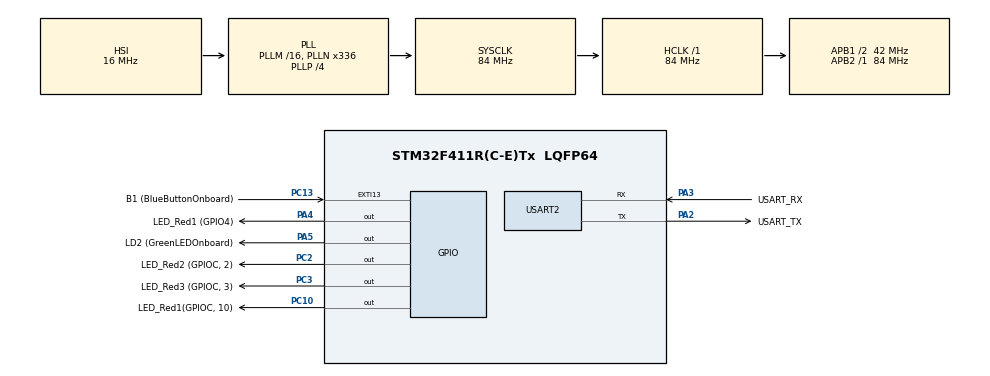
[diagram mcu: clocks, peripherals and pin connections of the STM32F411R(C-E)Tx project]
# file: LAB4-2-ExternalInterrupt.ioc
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Mcu.Family=STM32F4
Mcu.Name=STM32F411R(C-E)Tx
Mcu.Package=LQFP64
NVIC.EXTI15_10_IRQn=true\:0\:0\:false\:false\:true\:true\:true\:true
NVIC.PriorityGroup=NVIC_PRIORITYGROUP_0
PA13.GPIO_Label=TMS
PA13.Mode=Serial_Wire
PA13.Signal=SYS_JTMS-SWDIO
PA14.GPIO_Label=TCK
PA14.Mode=Serial_Wire
PA14.Signal=SYS_JTCK-SWCLK
PA2.GPIO_Label=USART_TX
PA2.Mode=Asynchronous
PA2.Signal=USART2_TX
PA3.GPIO_Label=USART_RX
PA3.Mode=Asynchronous
PA3.Signal=USART2_RX
PA4.GPIO_Label=LED_Red1 (GPIO4)
PA4.Signal=GPIO_Output
PA5.GPIO_Label=LD2 (GreenLEDOnboard)
PA5.Signal=GPIO_Output
PB3.GPIO_Label=SWO
PB3.Signal=SYS_JTDO-SWO
PC10.GPIO_Label=LED_Red1(GPIOC, 10)
PC10.Signal=GPIO_Output
PC13-ANTI_TAMP.GPIO_Label=B1 (BlueButtonOnboard)
PC13-ANTI_TAMP.GPIO_ModeDefaultEXTI=GPIO_MODE_IT_FALLING
PC13-ANTI_TAMP.Signal=GPXTI13
PC14-OSC32_IN.Mode=LSE-External-Oscillator
PC14-OSC32_IN.Signal=RCC_OSC32_IN
PC15-OSC32_OUT.Mode=LSE-External-Oscillator
PC15-OSC32_OUT.Signal=RCC_OSC32_OUT
PC2.GPIO_Label=LED_Red2 (GPIOC, 2)
PC2.Signal=GPIO_Output
PC3.GPIO_Label=LED_Red3 (GPIOC, 3)
PC3.Signal=GPIO_Output
PH0\ -\ OSC_IN.Mode=HSE-External-Clock-Source
PH0\ -\ OSC_IN.Signal=RCC_OSC_IN
PH1\ -\ OSC_OUT.Mode=HSE-External-Clock-Source
PH1\ -\ OSC_OUT.Signal=RCC_OSC_OUT
ProjectManager.HeapSize=0x200
ProjectManager.StackSize=0x400
ProjectManager.TargetToolchain=STM32CubeIDE
RCC.48MHZClocksFreq_Value=84000000
RCC.AHBFreq_Value=84000000
RCC.APB1CLKDivider=RCC_HCLK_DIV2
RCC.APB1Freq_Value=42000000
RCC.APB1TimFreq_Value=84000000
RCC.APB2Freq_Value=84000000
RCC.APB2TimFreq_Value=84000000
RCC.CortexFreq_Value=84000000
RCC.FLatency-AdvancedSettings=FLASH_LATENCY_2
RCC.HCLKFreq_Value=84000000
RCC.HSE_VALUE=8000000
RCC.HSI_VALUE=16000000
RCC.PLLN=336
RCC.PLLP=RCC_PLLP_DIV4
RCC.SYSCLKFreq_VALUE=84000000
RCC.SYSCLKSource=RCC_SYSCLKSOURCE_PLLCLK
RCC.VCOOutputFreq_Value=336000000
USART2.VirtualMode=VM_ASYNC
board=NUCLEO-F411RE

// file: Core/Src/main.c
/* USER CODE BEGIN Header */
/**
  ******************************************************************************
  * @file           : main.c
  * @brief          : Main program body
  ******************************************************************************
  * @attention
  *
  * Copyright (c) 2024 STMicroelectronics.
  * All rights reserved.
  *
  * This software is licensed under terms that can be found in the LICENSE file
  * in the root directory of this software component.
  * If no LICENSE file comes with this software, it is provided AS-IS.
  *
  ******************************************************************************
  */
/* USER CODE END Header */
#include "main.h"

UART_HandleTypeDef huart2;

void SystemClock_Config(void);
static void MX_GPIO_Init(void);
static void MX_USART2_UART_Init(void);

/* USER CODE BEGIN 0 */
int state = 0;
void HAL_GPIO_EXTI_Callback(uint16_t pin) {
	state = (state + 1) % 3;
}

/* USER CODE END 0 */

int main(void)
{

  /* MCU Configuration--------------------------------------------------------*/

  /* Reset of all peripherals, Initializes the Flash interface and the Systick. */
  HAL_Init();

  /* Configure the system clock */
  SystemClock_Config();

  /* Initialize all configured peripherals */
  MX_GPIO_Init();
  MX_USART2_UART_Init();

  /* Infinite loop */
  /* USER CODE BEGIN WHILE */
  while (1)
  {
	  HAL_GPIO_TogglePin(GPIOA, GPIO_PIN_5);
	  switch (state) {
	  case 0:
		  HAL_GPIO_WritePin(GPIOC, GPIO_PIN_10, GPIO_PIN_SET);
		  HAL_GPIO_WritePin(GPIOC, GPIO_PIN_2, GPIO_PIN_RESET);
		  HAL_GPIO_WritePin(GPIOC, GPIO_PIN_3, GPIO_PIN_RESET);
		  HAL_Delay(100);
		  break;
	  case 1:
		  HAL_GPIO_WritePin(GPIOC, GPIO_PIN_10, GPIO_PIN_RESET);
		  HAL_GPIO_WritePin(GPIOC, GPIO_PIN_2, GPIO_PIN_SET);
		  HAL_GPIO_WritePin(GPIOC, GPIO_PIN_3, GPIO_PIN_RESET);
		  HAL_Delay(500);
		  break;
	  case 2:
		  HAL_GPIO_WritePin(GPIOC, GPIO_PIN_10, GPIO_PIN_RESET);
		  HAL_GPIO_WritePin(GPIOC, GPIO_PIN_2, GPIO_PIN_RESET);
		  HAL_GPIO_WritePin(GPIOC, GPIO_PIN_3, GPIO_PIN_SET);
		  HAL_Delay(2500);
		  break;
	  }
    /* USER CODE END WHILE */

  }
}

void SystemClock_Config(void)
{
  RCC_OscInitTypeDef RCC_OscInitStruct = {0};
  RCC_ClkInitTypeDef RCC_ClkInitStruct = {0};

  /** Configure the main internal regulator output voltage
  */
  __HAL_RCC_PWR_CLK_ENABLE();
  __HAL_PWR_VOLTAGESCALING_CONFIG(PWR_REGULATOR_VOLTAGE_SCALE1);

  /** Initializes the RCC Oscillators according to the specified parameters
  * in the RCC_OscInitTypeDef structure.
  */
  RCC_OscInitStruct.OscillatorType = RCC_OSCILLATORTYPE_HSI;
  RCC_OscInitStruct.HSIState = RCC_HSI_ON;
  RCC_OscInitStruct.HSICalibrationValue = RCC_HSICALIBRATION_DEFAULT;
  RCC_OscInitStruct.PLL.PLLState = RCC_PLL_ON;
  RCC_OscInitStruct.PLL.PLLSource = RCC_PLLSOURCE_HSI;
  RCC_OscInitStruct.PLL.PLLM = 16;
  RCC_OscInitStruct.PLL.PLLN = 336;
  RCC_OscInitStruct.PLL.PLLP = RCC_PLLP_DIV4;
  RCC_OscInitStruct.PLL.PLLQ = 4;
  if (HAL_RCC_OscConfig(&RCC_OscInitStruct) != HAL_OK)
  {
    Error_Handler();
  }

  /** Initializes the CPU, AHB and APB buses clocks
  */
  RCC_ClkInitStruct.ClockType = RCC_CLOCKTYPE_HCLK|RCC_CLOCKTYPE_SYSCLK
                              |RCC_CLOCKTYPE_PCLK1|RCC_CLOCKTYPE_PCLK2;
  RCC_ClkInitStruct.SYSCLKSource = RCC_SYSCLKSOURCE_PLLCLK;
  RCC_ClkInitStruct.AHBCLKDivider = RCC_SYSCLK_DIV1;
  RCC_ClkInitStruct.APB1CLKDivider = RCC_HCLK_DIV2;
  RCC_ClkInitStruct.APB2CLKDivider = RCC_HCLK_DIV1;

  if (HAL_RCC_ClockConfig(&RCC_ClkInitStruct, FLASH_LATENCY_2) != HAL_OK)
  {
    Error_Handler();
  }
}

static void MX_USART2_UART_Init(void)
{

  huart2.Instance = USART2;
  huart2.Init.BaudRate = 115200;
  huart2.Init.WordLength = UART_WORDLENGTH_8B;
  huart2.Init.StopBits = UART_STOPBITS_1;
  huart2.Init.Parity = UART_PARITY_NONE;
  huart2.Init.Mode = UART_MODE_TX_RX;
  huart2.Init.HwFlowCtl = UART_HWCONTROL_NONE;
  huart2.Init.OverSampling = UART_OVERSAMPLING_16;
  if (HAL_UART_Init(&huart2) != HAL_OK)
  {
    Error_Handler();
  }

}

static void MX_GPIO_Init(void)
{
  GPIO_InitTypeDef GPIO_InitStruct = {0};

  /* GPIO Ports Clock Enable */
  __HAL_RCC_GPIOC_CLK_ENABLE();
  __HAL_RCC_GPIOH_CLK_ENABLE();
  __HAL_RCC_GPIOA_CLK_ENABLE();
  __HAL_RCC_GPIOB_CLK_ENABLE();

  /*Configure GPIO pin Output Level */
  HAL_GPIO_WritePin(GPIOC, LED_Red2_Pin|LED_Red3_Pin|LED_Red1C10_Pin, GPIO_PIN_RESET);

  /*Configure GPIO pin Output Level */
  HAL_GPIO_WritePin(GPIOA, LED_Red1_Pin|LD2_Pin, GPIO_PIN_RESET);

  /*Configure GPIO pin : B1_Pin */
  GPIO_InitStruct.Pin = B1_Pin;
  GPIO_InitStruct.Mode = GPIO_MODE_IT_FALLING;
  GPIO_InitStruct.Pull = GPIO_NOPULL;
  HAL_GPIO_Init(B1_GPIO_Port, &GPIO_InitStruct);

  /*Configure GPIO pins : LED_Red2_Pin LED_Red3_Pin LED_Red1C10_Pin */
  GPIO_InitStruct.Pin = LED_Red2_Pin|LED_Red3_Pin|LED_Red1C10_Pin;
  GPIO_InitStruct.Mode = GPIO_MODE_OUTPUT_PP;
  GPIO_InitStruct.Pull = GPIO_NOPULL;
  GPIO_InitStruct.Speed = GPIO_SPEED_FREQ_LOW;
  HAL_GPIO_Init(GPIOC, &GPIO_InitStruct);

  /*Configure GPIO pins : LED_Red1_Pin LD2_Pin */
  GPIO_InitStruct.Pin = LED_Red1_Pin|LD2_Pin;
  GPIO_InitStruct.Mode = GPIO_MODE_OUTPUT_PP;
  GPIO_InitStruct.Pull = GPIO_NOPULL;
  GPIO_InitStruct.Speed = GPIO_SPEED_FREQ_LOW;
  HAL_GPIO_Init(GPIOA, &GPIO_InitStruct);

  /* EXTI interrupt init*/
  HAL_NVIC_SetPriority(EXTI15_10_IRQn, 0, 0);
  HAL_NVIC_EnableIRQ(EXTI15_10_IRQn);

}

void Error_Handler(void)
{
  __disable_irq();
  while (1)
  {
  }
}
